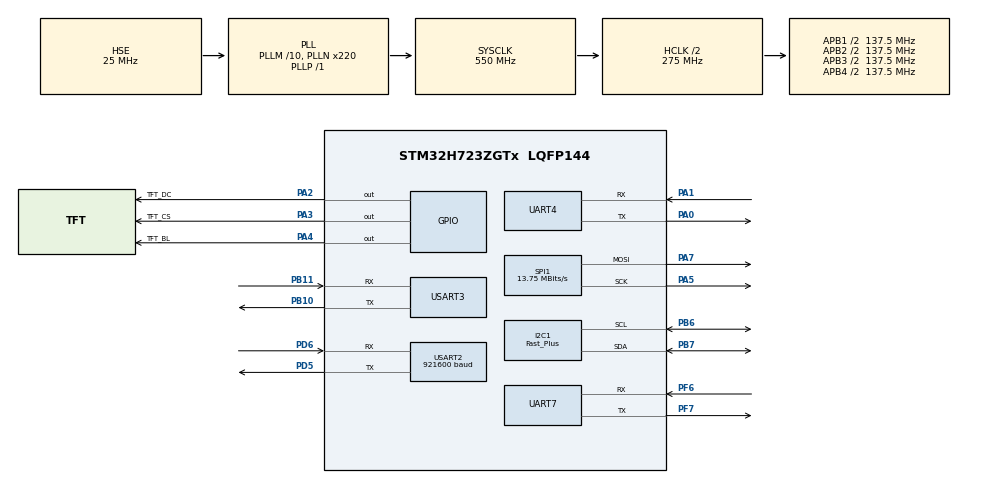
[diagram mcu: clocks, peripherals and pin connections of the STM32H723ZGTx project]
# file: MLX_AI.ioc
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CORTEX_M7.CPU_DCache=Enabled
CORTEX_M7.CPU_ICache=Enabled
CORTEX_M7.default_mode_Activation=1
Dma.Request0=UART4_TX
Dma.Request1=UART7_RX
Dma.UART4_TX.0.Direction=DMA_MEMORY_TO_PERIPH
Dma.UART4_TX.0.EventEnable=DISABLE
Dma.UART4_TX.0.FIFOMode=DMA_FIFOMODE_ENABLE
Dma.UART4_TX.0.FIFOThreshold=DMA_FIFO_THRESHOLD_FULL
Dma.UART4_TX.0.Instance=DMA1_Stream0
Dma.UART4_TX.0.MemBurst=DMA_MBURST_SINGLE
Dma.UART4_TX.0.MemDataAlignment=DMA_MDATAALIGN_BYTE
Dma.UART4_TX.0.MemInc=DMA_MINC_ENABLE
Dma.UART4_TX.0.Mode=DMA_NORMAL
Dma.UART4_TX.0.PeriphBurst=DMA_PBURST_SINGLE
Dma.UART4_TX.0.PeriphDataAlignment=DMA_PDATAALIGN_BYTE
Dma.UART4_TX.0.PeriphInc=DMA_PINC_DISABLE
Dma.UART4_TX.0.Polarity=HAL_DMAMUX_REQ_GEN_RISING
Dma.UART4_TX.0.Priority=DMA_PRIORITY_VERY_HIGH
Dma.UART4_TX.0.RequestNumber=1
Dma.UART4_TX.0.SignalID=NONE
Dma.UART4_TX.0.SyncEnable=DISABLE
Dma.UART4_TX.0.SyncPolarity=HAL_DMAMUX_SYNC_NO_EVENT
Dma.UART4_TX.0.SyncRequestNumber=1
Dma.UART4_TX.0.SyncSignalID=NONE
Dma.UART7_RX.1.Direction=DMA_PERIPH_TO_MEMORY
Dma.UART7_RX.1.EventEnable=DISABLE
Dma.UART7_RX.1.FIFOMode=DMA_FIFOMODE_DISABLE
Dma.UART7_RX.1.Instance=DMA1_Stream1
Dma.UART7_RX.1.MemDataAlignment=DMA_MDATAALIGN_BYTE
Dma.UART7_RX.1.MemInc=DMA_MINC_ENABLE
Dma.UART7_RX.1.Mode=DMA_CIRCULAR
Dma.UART7_RX.1.PeriphDataAlignment=DMA_PDATAALIGN_BYTE
Dma.UART7_RX.1.PeriphInc=DMA_PINC_DISABLE
Dma.UART7_RX.1.Polarity=HAL_DMAMUX_REQ_GEN_RISING
Dma.UART7_RX.1.Priority=DMA_PRIORITY_MEDIUM
Dma.UART7_RX.1.RequestNumber=1
Dma.UART7_RX.1.SignalID=NONE
Dma.UART7_RX.1.SyncEnable=DISABLE
Dma.UART7_RX.1.SyncPolarity=HAL_DMAMUX_SYNC_NO_EVENT
Dma.UART7_RX.1.SyncRequestNumber=1
Dma.UART7_RX.1.SyncSignalID=NONE
I2C1.I2C_Speed_Mode=I2C_Fast_Plus
I2C1.Timing=0x00601A5C
Mcu.Family=STM32H7
Mcu.Name=STM32H723ZGTx
Mcu.Package=LQFP144
NVIC.DMA1_Stream0_IRQn=true\:0\:0\:false\:false\:true\:false\:true\:true
NVIC.DMA1_Stream1_IRQn=true\:0\:0\:false\:false\:true\:false\:true\:true
NVIC.PriorityGroup=NVIC_PRIORITYGROUP_4
NVIC.UART4_IRQn=true\:0\:0\:false\:false\:true\:true\:true\:true
NVIC.UART7_IRQn=true\:0\:0\:false\:false\:true\:true\:true\:true
NVIC.USART3_IRQn=true\:0\:0\:false\:false\:true\:true\:true\:true
PA0.Mode=Asynchronous
PA0.Signal=UART4_TX
PA1.Mode=Asynchronous
PA1.Signal=UART4_RX
PA13(JTMS/SWDIO).Mode=Serial_Wire
PA13(JTMS/SWDIO).Signal=DEBUG_JTMS-SWDIO
PA14(JTCK/SWCLK).Mode=Serial_Wire
PA14(JTCK/SWCLK).Signal=DEBUG_JTCK-SWCLK
PA2.GPIO_Label=TFT_DC
PA2.GPIO_ModeDefaultOutputPP=GPIO_MODE_OUTPUT_PP
PA2.GPIO_PuPd=GPIO_PULLUP
PA2.GPIO_Speed=GPIO_SPEED_FREQ_HIGH
PA2.PinState=GPIO_PIN_SET
PA2.Signal=GPIO_Output
PA3.GPIO_Label=TFT_CS
PA3.GPIO_Speed=GPIO_SPEED_FREQ_HIGH
PA3.PinState=GPIO_PIN_SET
PA3.Signal=GPIO_Output
PA4.GPIO_Label=TFT_BL
PA4.GPIO_Speed=GPIO_SPEED_FREQ_HIGH
PA4.PinState=GPIO_PIN_SET
PA4.Signal=GPIO_Output
PA5.Mode=TX_Only_Simplex_Unidirect_Master
PA5.Signal=SPI1_SCK
PA7.Mode=TX_Only_Simplex_Unidirect_Master
PA7.Signal=SPI1_MOSI
PB10.Mode=Asynchronous
PB10.Signal=USART3_TX
PB11.Mode=Asynchronous
PB11.Signal=USART3_RX
PB6.GPIO_Speed=GPIO_SPEED_FREQ_HIGH
PB6.Mode=I2C
PB6.Signal=I2C1_SCL
PB7.GPIO_Speed=GPIO_SPEED_FREQ_HIGH
PB7.Mode=I2C
PB7.Signal=I2C1_SDA
PC14-OSC32_IN.Mode=LSE-External-Oscillator
PC14-OSC32_IN.Signal=RCC_OSC32_IN
PC15-OSC32_OUT.Mode=LSE-External-Oscillator
PC15-OSC32_OUT.Signal=RCC_OSC32_OUT
PD5.GPIO_Speed=GPIO_SPEED_FREQ_HIGH
PD5.Mode=Asynchronous
PD5.Signal=USART2_TX
PD6.GPIO_Speed=GPIO_SPEED_FREQ_HIGH
PD6.Mode=Asynchronous
PD6.Signal=USART2_RX
PF6.Mode=Asynchronous
PF6.Signal=UART7_RX
PF7.Mode=Asynchronous
PF7.Signal=UART7_TX
PH0-OSC_IN.Mode=HSE-External-Oscillator
PH0-OSC_IN.Signal=RCC_OSC_IN
PH1-OSC_OUT.Mode=HSE-External-Oscillator
PH1-OSC_OUT.Signal=RCC_OSC_OUT
ProjectManager.HeapSize=0x800
ProjectManager.StackSize=0x800
ProjectManager.TargetToolchain=MDK-ARM V5.32
RCC.ADCFreq_Value=50390625
RCC.APB1Freq_Value=137500000
RCC.APB2Freq_Value=137500000
RCC.APB3Freq_Value=137500000
RCC.APB4Freq_Value=137500000
RCC.CortexFreq_Value=550000000
RCC.D1PPRE=RCC_APB3_DIV2
RCC.D2PPRE1=RCC_APB1_DIV2
RCC.D2PPRE2=RCC_APB2_DIV2
RCC.D3PPRE=RCC_APB4_DIV2
RCC.DIVM1=10
RCC.DIVN1=220
RCC.DIVP1=1
RCC.DIVQ1=5
RCC.HCLKFreq_Value=275000000
RCC.HPRE=RCC_HCLK_DIV2
RCC.PLLSourceVirtual=RCC_PLLSOURCE_HSE
RCC.SYSCLKFreq_VALUE=550000000
RCC.SYSCLKSource=RCC_SYSCLKSOURCE_PLLCLK
RCC.USBFreq_Value=110000000
SPI1.BaudRatePrescaler=SPI_BAUDRATEPRESCALER_8
SPI1.CalculateBaudRate=13.75 MBits/s
SPI1.DataSize=SPI_DATASIZE_8BIT
SPI1.Direction=SPI_DIRECTION_2LINES_TXONLY
SPI1.Mode=SPI_MODE_MASTER
SPI1.NSSPMode=SPI_NSS_PULSE_DISABLE
SPI1.VirtualType=VM_MASTER
STMicroelectronics.X-CUBE-AI.10.2.0.ActivationBufferSizeList=28416
STMicroelectronics.X-CUBE-AI.10.2.0.ActivationBuffers=pool0
STMicroelectronics.X-CUBE-AI.10.2.0.ActivationNames=pool0
STMicroelectronics.X-CUBE-AI.10.2.0.ActivationSizes=AI_NETWORK_DATA_ACTIVATION_1_SIZE
STMicroelectronics.X-CUBE-AI.10.2.0.HeapSize=0x800
STMicroelectronics.X-CUBE-AI.10.2.0.InternalRamActivationBufferMaxSize=AI_NETWORK_DATA_ACTIVATIONS_SIZE
STMicroelectronics.X-CUBE-AI.10.2.0.LatestDirectoryUsed-919a184adf62692b92f557c02f0dfa6e08ca457cacbe2f96070f2c402fc341f9=C\:\\Users\\q_157\\Desktop\\python_scripts
STMicroelectronics.X-CUBE-AI.10.2.0.MaximumNumberOfInputLayer=1
STMicroelectronics.X-CUBE-AI.10.2.0.MaximumNumberOfOutputLayer=1
STMicroelectronics.X-CUBE-AI.10.2.0.MaximumSizeOfInputLayer=1
STMicroelectronics.X-CUBE-AI.10.2.0.MaximumSizeOfOutputLayer=1
STMicroelectronics.X-CUBE-AI.10.2.0.ModelActualCompression-919a184adf62692b92f557c02f0dfa6e08ca457cacbe2f96070f2c402fc341f9=0.0
STMicroelectronics.X-CUBE-AI.10.2.0.ModelCompression-919a184adf62692b92f557c02f0dfa6e08ca457cacbe2f96070f2c402fc341f9=None
STMicroelectronics.X-CUBE-AI.10.2.0.ModelFlashOccupation-919a184adf62692b92f557c02f0dfa6e08ca457cacbe2f96070f2c402fc341f9=281776
STMicroelectronics.X-CUBE-AI.10.2.0.ModelHashList=919a184adf62692b92f557c02f0dfa6e08ca457cacbe2f96070f2c402fc341f9
STMicroelectronics.X-CUBE-AI.10.2.0.ModelKind-919a184adf62692b92f557c02f0dfa6e08ca457cacbe2f96070f2c402fc341f9=TFLITE
STMicroelectronics.X-CUBE-AI.10.2.0.ModelMacc-919a184adf62692b92f557c02f0dfa6e08ca457cacbe2f96070f2c402fc341f9=799072
STMicroelectronics.X-CUBE-AI.10.2.0.ModelName-919a184adf62692b92f557c02f0dfa6e08ca457cacbe2f96070f2c402fc341f9=network
STMicroelectronics.X-CUBE-AI.10.2.0.ModelNameList=network
STMicroelectronics.X-CUBE-AI.10.2.0.ModelRamOccupation-919a184adf62692b92f557c02f0dfa6e08ca457cacbe2f96070f2c402fc341f9=28416
STMicroelectronics.X-CUBE-AI.10.2.0.ModelStructureFile-919a184adf62692b92f557c02f0dfa6e08ca457cacbe2f96070f2c402fc341f9=C\:\\Users\\q_157\\Desktop\\python_scripts\\manual_quant_model.tflite
STMicroelectronics.X-CUBE-AI.10.2.0.ModelType-919a184adf62692b92f557c02f0dfa6e08ca457cacbe2f96070f2c402fc341f9=STM32Cube.AI MCU runtime
STMicroelectronics.X-CUBE-AI.10.2.0.ReadyForCodeGeneration=true
STMicroelectronics.X-CUBE-AI.10.2.0.StackSize=0x800
STMicroelectronics.X-CUBE-AI.10.2.0.WorkingBufferStartAddrList=0xFFFFFFFF
STMicroelectronics.X-CUBE-AI.10.2.0.XAaCUBEAaAICcArtificialOoIntelligenceJjCore=true
STMicroelectronics.X-CUBE-AI.10.2.0.copyWeightToRam=false
STMicroelectronics.X-CUBE-AI.10.2.0.copyWeightToRam-919a184adf62692b92f557c02f0dfa6e08ca457cacbe2f96070f2c402fc341f9=false
STMicroelectronics.X-CUBE-AI.10.2.0.customLayerConfigEnabled=false
STMicroelectronics.X-CUBE-AI.10.2.0.customLayerConfigEnabled-919a184adf62692b92f557c02f0dfa6e08ca457cacbe2f96070f2c402fc341f9=false
STMicroelectronics.X-CUBE-AI.10.2.0.noOnnxIoTranspose=false
STMicroelectronics.X-CUBE-AI.10.2.0.noOnnxIoTranspose-919a184adf62692b92f557c02f0dfa6e08ca457cacbe2f96070f2c402fc341f9=false
STMicroelectronics.X-CUBE-AI.10.2.0.useInputAllocation=true
STMicroelectronics.X-CUBE-AI.10.2.0.useInputAllocation-919a184adf62692b92f557c02f0dfa6e08ca457cacbe2f96070f2c402fc341f9=true
STMicroelectronics.X-CUBE-AI.10.2.0.useOutputAllocation=true
STMicroelectronics.X-CUBE-AI.10.2.0.useOutputAllocation-919a184adf62692b92f557c02f0dfa6e08ca457cacbe2f96070f2c402fc341f9=true
USART2.BaudRate=921600
USART2.VirtualMode-Asynchronous=VM_ASYNC
USART3.VirtualMode-Asynchronous=VM_ASYNC
VP_STMicroelectronics.X-CUBE-AI_VS_ArtificialOoIntelligenceJjXAaCUBEAaAI_10.2.0.Mode=ArtificialOoIntelligenceJjXAaCUBEAaAI
board=custom

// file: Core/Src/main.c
/* USER CODE BEGIN Header */
/**
  ******************************************************************************
  * @file           : main.c
  * @brief          : Main program body
  ******************************************************************************
  * @attention
  *
  * Copyright (c) 2026 STMicroelectronics.
  * All rights reserved.
  *
  * This software is licensed under terms that can be found in the LICENSE file
  * in the root directory of this software component.
  * If no LICENSE file comes with this software, it is provided AS-IS.
  *
  ******************************************************************************
  */
/* USER CODE END Header */
#include "main.h"
#include "dma.h"
#include "i2c.h"
#include "spi.h"
#include "usart.h"
#include "gpio.h"

/* USER CODE BEGIN Includes */
#include "lcd.h"
#include "lcd_init.h"
#include <stdio.h>
#include "MLX90640_API.h"
#include <string.h>
#include "network.h"       // AI 网络主头文件
#include "network_data.h"  // AI 权重数据头文�?
#include <stdio.h>
#include <math.h>
#include "LCD_show.h"
#include "ESP8266.h"
#include "Radar.h"
#define MLX90640_ADDR 0x33 // 传感�? I2C 地址
#if defined(__ICCARM__) || defined(__CC_ARM) || defined(__GNUC__)
    __attribute__((aligned(32))) char b64_buffer[30000];
#endif

#if defined(__ICCARM__) || defined(__CC_ARM) || defined(__GNUC__)
    __attribute__((aligned(32))) uint8_t test_jpeg_buffer[7500];
#endif

typedef struct {
    uint16_t eeMLX90640[832];
    uint16_t frameData[834];
    uint16_t raw_temp_int[768];
    float raw_temperature[768];
    paramsMLX90640 mlx_params;
} MLX90640_Camera;

__attribute__((section(".RAM_D1"), aligned(32))) MLX90640_Camera cam;
__attribute__((section(".RAM_D1"), aligned(32))) uint16_t display_data_array[12288];
//AI变量
ai_handle network_handle = AI_HANDLE_NULL;
ai_buffer *ai_input;
ai_buffer *ai_output;
int8_t fall_score,normal_score;
__attribute__((section(".RAM_D1"), aligned(32))) ai_u8 activations[AI_NETWORK_DATA_ACTIVATIONS_SIZE];
__attribute__((section(".RAM_D1"), aligned(32))) ai_i8 ai_in_data[AI_NETWORK_IN_1_SIZE_BYTES];
__attribute__((section(".RAM_D1"), aligned(32))) ai_i8 ai_out_data[AI_NETWORK_OUT_1_SIZE_BYTES];
char tx_buffer[128];
uint32_t last_ai_time = 0;

void Run_Fall_Detection_AI(float* raw_temp)
{
    if(network_handle == AI_HANDLE_NULL) return;

    int8_t* in_ptr = (int8_t*)ai_input[0].data;
    int8_t* out_ptr = (int8_t*)ai_output[0].data;

    float scale = 0.00670511368f;
    int zero_point = 16;
    float min_t = 20.0f;
    float max_t = 35.0f;

    // 图像处理逻辑 (32x24 -> 32x32)
    for(int y = 0; y < 32; y++) {
        int src_y = (y * 23) / 31;
        for(int x = 0; x < 32; x++) {
            float temp = raw_temp[src_y * 32 + x];
            if(temp > max_t) temp = max_t;
            if(temp < min_t) temp = min_t;
            float v = (temp - min_t) / (max_t - min_t);
            float pixel_val = v * 255.0f;
            float float_val = (pixel_val / 127.5f) - 1.0f;
            int32_t int8_val = (int32_t)roundf(float_val / scale) + zero_point;
            in_ptr[y * 32 + x] = (int8_t)__SSAT(int8_val, 8);
        }
    }

    // 运行 AI
    SCB_CleanDCache_by_Addr((uint32_t*)ai_in_data, AI_NETWORK_IN_1_SIZE_BYTES);
    ai_network_run(network_handle, ai_input, ai_output);
    SCB_InvalidateDCache_by_Addr((uint32_t*)ai_out_data, AI_NETWORK_OUT_1_SIZE_BYTES);

    int8_t fall_score = out_ptr[0];
    int8_t normal_score = out_ptr[1];
		snprintf(tx_buffer, sizeof(tx_buffer), ">> AI CHECK: Fall(%d) vs Normal(%d)\n", fall_score, normal_score);
		HAL_UART_Transmit(&huart2, (uint8_t *)tx_buffer, strlen(tx_buffer), HAL_MAX_DELAY);
		snprintf(tx_buffer, sizeof(tx_buffer), "AI Executed -> Fall:%d Normal:%d\r\n", fall_score, normal_score);
		HAL_UART_Transmit(&huart2, (uint8_t *)tx_buffer, strlen(tx_buffer), HAL_MAX_DELAY);
}
/* USER CODE END Includes */

void SystemClock_Config(void);
static void MPU_Config(void);

int main(void)
{

  /* MPU Configuration--------------------------------------------------------*/
  MPU_Config();

  /* Enable the CPU Cache */

  /* Enable I-Cache---------------------------------------------------------*/
  SCB_EnableICache();

  /* Enable D-Cache---------------------------------------------------------*/
  SCB_EnableDCache();

  /* MCU Configuration--------------------------------------------------------*/

  /* Reset of all peripherals, Initializes the Flash interface and the Systick. */
  HAL_Init();

  /* Configure the system clock */
  SystemClock_Config();

  /* Initialize all configured peripherals */
  MX_GPIO_Init();
  MX_DMA_Init();
  MX_I2C1_Init();
  MX_USART2_UART_Init();
  MX_SPI1_Init();
  MX_USART3_UART_Init();
  MX_UART4_Init();
  MX_UART7_Init();
  /* USER CODE BEGIN 2 */
//  LCD_Init();//LCD
//  LCD_Fill(0,0,LCD_W,LCD_H,WHITE);
	//Internet port
	Start_Radar_DMA();
	ESP8266_Init_WiFi();
	HAL_Delay(3000);
  printf("--- Waiting Test ---\r\n");
	HAL_UART_Transmit(&huart2, (uint8_t *)"MLX90640 Initialization Starting...\r\n", sizeof("MLX90640 Initialization Starting...\r\n")-1, 100);
  memset(display_data_array, 0, sizeof(display_data_array));
  MLX90640_SetRefreshRate(MLX90640_ADDR, 0x05);
  MLX90640_SetChessMode(MLX90640_ADDR);

  if(MLX90640_DumpEE(MLX90640_ADDR,cam.eeMLX90640) != 0) {
          HAL_UART_Transmit(&huart2, (uint8_t *)"error\r\n", sizeof("error\r\n")-1, 100);
      } else {
          MLX90640_ExtractParameters(cam.eeMLX90640, &cam.mlx_params);
				HAL_UART_Transmit(&huart2, (uint8_t *)"Cam Init Success!\r\n", sizeof("Cam Init Success!\r\n")-1, 100);
      }

// ==================== AI 引擎初始�? ====================
	HAL_UART_Transmit(&huart2, (uint8_t *)"AI Engine Starting...\r\n", sizeof("AI Engine Starting...\r\n")-1, 100);
  ai_error err = ai_network_create(&network_handle, AI_NETWORK_DATA_CONFIG);
  if (err.type != AI_ERROR_NONE) {
		HAL_UART_Transmit(&huart2, (uint8_t *)"AI Create Failed!\r\n", sizeof("AI Create Failed!\r\n")-1, 100);
  } else {
      const ai_network_params params = {
          AI_NETWORK_DATA_WEIGHTS(ai_network_data_weights_get()),
          AI_NETWORK_DATA_ACTIVATIONS(activations)
      };
      if (!ai_network_init(network_handle, &params)) {
				HAL_UART_Transmit(&huart2, (uint8_t *)"AI Init Failed!\r\n", sizeof("AI Init Failed!\r\n")-1, 100);
      } else {
          ai_input = ai_network_inputs_get(network_handle, NULL);
          ai_output = ai_network_outputs_get(network_handle, NULL);
				HAL_UART_Transmit(&huart2, (uint8_t *)"AI Engine Ready! Let's Go!\r\n", sizeof("AI Engine Ready! Let's Go!\r\n")-1, 100);
      }
  }
	last_ai_time = HAL_GetTick();
  /* USER CODE END 2 */

  /* Infinite loop */
  /* USER CODE BEGIN WHILE */
  while (1)
  {
     /* Infinite loop */
  /* USER CODE BEGIN WHILE */
          if(MLX90640_GetFrameData(MLX90640_ADDR, cam.frameData) >= 0)
          {
              float Ta = MLX90640_GetTa(cam.frameData, &cam.mlx_params);

              MLX90640_CalculateTo(cam.frameData, &cam.mlx_params, 0.95f, Ta - 8.0f, cam.raw_temp_int);

              if (cam.frameData[833] == 1)
              {
                  // 将整数还原成真实浮点温度
                  for(int j = 0; j < 768; j++)
                  {
                      cam.raw_temperature[j] = (float)cam.raw_temp_int[j] / 100.0f;
                  }
									Send_IR_Data_Hex(cam.raw_temp_int);

									 // 5. 召唤 AI 进行跌�?�判定！
                    if (HAL_GetTick() - last_ai_time >= 5000)
                      {
                        Run_Fall_Detection_AI(cam.raw_temperature);
                        last_ai_time = HAL_GetTick(); // 重置计时器
                      }
									 ParseRadarData_DMA();

                   // 2. 检查是否有新的数据包需要上传 (比如通过定时器或雷达触发)
                   // 示例：每 10 秒上传一次，或者检测到跌倒 (g_radar_data.is_fall == 1) 时触发
                   static uint32_t last_upload_time = 0;
                   if ((HAL_GetTick() - last_upload_time > 10000) || ((g_radar_data.is_fall == 1)&&(fall_score > normal_score && fall_score > 50)))
                      {
                          last_upload_time = HAL_GetTick();

                          printf("-- Intend Transmit --- \r\n");
                          uint32_t total_size = Pack_All_Camera_Data();

                          printf("All_Length: %lu byte\r\n", (unsigned long)total_size);
		                          // 打包完数据后，确保内存已刷新
                          SCB_CleanDCache_by_Addr((uint32_t *)test_jpeg_buffer, 7500);
                          Upload_Image_To_Cloud(test_jpeg_buffer, total_size);
                      }
                    HAL_Delay (10);
             }
          }
    /* USER CODE END WHILE */

  }
}

void SystemClock_Config(void)
{
  RCC_OscInitTypeDef RCC_OscInitStruct = {0};
  RCC_ClkInitTypeDef RCC_ClkInitStruct = {0};

  /** Supply configuration update enable
  */
  HAL_PWREx_ConfigSupply(PWR_LDO_SUPPLY);

  /** Configure the main internal regulator output voltage
  */
  __HAL_PWR_VOLTAGESCALING_CONFIG(PWR_REGULATOR_VOLTAGE_SCALE0);

  while(!__HAL_PWR_GET_FLAG(PWR_FLAG_VOSRDY)) {}

  /** Initializes the RCC Oscillators according to the specified parameters
  * in the RCC_OscInitTypeDef structure.
  */
  RCC_OscInitStruct.OscillatorType = RCC_OSCILLATORTYPE_HSE;
  RCC_OscInitStruct.HSEState = RCC_HSE_ON;
  RCC_OscInitStruct.PLL.PLLState = RCC_PLL_ON;
  RCC_OscInitStruct.PLL.PLLSource = RCC_PLLSOURCE_HSE;
  RCC_OscInitStruct.PLL.PLLM = 10;
  RCC_OscInitStruct.PLL.PLLN = 220;
  RCC_OscInitStruct.PLL.PLLP = 1;
  RCC_OscInitStruct.PLL.PLLQ = 5;
  RCC_OscInitStruct.PLL.PLLR = 2;
  RCC_OscInitStruct.PLL.PLLRGE = RCC_PLL1VCIRANGE_1;
  RCC_OscInitStruct.PLL.PLLVCOSEL = RCC_PLL1VCOWIDE;
  RCC_OscInitStruct.PLL.PLLFRACN = 0;
  if (HAL_RCC_OscConfig(&RCC_OscInitStruct) != HAL_OK)
  {
    Error_Handler();
  }

  /** Initializes the CPU, AHB and APB buses clocks
  */
  RCC_ClkInitStruct.ClockType = RCC_CLOCKTYPE_HCLK|RCC_CLOCKTYPE_SYSCLK
                              |RCC_CLOCKTYPE_PCLK1|RCC_CLOCKTYPE_PCLK2
                              |RCC_CLOCKTYPE_D3PCLK1|RCC_CLOCKTYPE_D1PCLK1;
  RCC_ClkInitStruct.SYSCLKSource = RCC_SYSCLKSOURCE_PLLCLK;
  RCC_ClkInitStruct.SYSCLKDivider = RCC_SYSCLK_DIV1;
  RCC_ClkInitStruct.AHBCLKDivider = RCC_HCLK_DIV2;
  RCC_ClkInitStruct.APB3CLKDivider = RCC_APB3_DIV2;
  RCC_ClkInitStruct.APB1CLKDivider = RCC_APB1_DIV2;
  RCC_ClkInitStruct.APB2CLKDivider = RCC_APB2_DIV2;
  RCC_ClkInitStruct.APB4CLKDivider = RCC_APB4_DIV2;

  if (HAL_RCC_ClockConfig(&RCC_ClkInitStruct, FLASH_LATENCY_3) != HAL_OK)
  {
    Error_Handler();
  }
}

 /* MPU Configuration */

void MPU_Config(void)
{
  MPU_Region_InitTypeDef MPU_InitStruct = {0};

  /* Disables the MPU */
  HAL_MPU_Disable();

  /** Initializes and configures the Region and the memory to be protected
  */
  MPU_InitStruct.Enable = MPU_REGION_ENABLE;
  MPU_InitStruct.Number = MPU_REGION_NUMBER0;
  MPU_InitStruct.BaseAddress = 0x0;
  MPU_InitStruct.Size = MPU_REGION_SIZE_4GB;
  MPU_InitStruct.SubRegionDisable = 0x87;
  MPU_InitStruct.TypeExtField = MPU_TEX_LEVEL0;
  MPU_InitStruct.AccessPermission = MPU_REGION_NO_ACCESS;
  MPU_InitStruct.DisableExec = MPU_INSTRUCTION_ACCESS_DISABLE;
  MPU_InitStruct.IsShareable = MPU_ACCESS_SHAREABLE;
  MPU_InitStruct.IsCacheable = MPU_ACCESS_NOT_CACHEABLE;
  MPU_InitStruct.IsBufferable = MPU_ACCESS_NOT_BUFFERABLE;

  HAL_MPU_ConfigRegion(&MPU_InitStruct);
  /* Enables the MPU */
  HAL_MPU_Enable(MPU_PRIVILEGED_DEFAULT);

}

void Error_Handler(void)
{
  __disable_irq();
  while (1)
  {
  }
}
